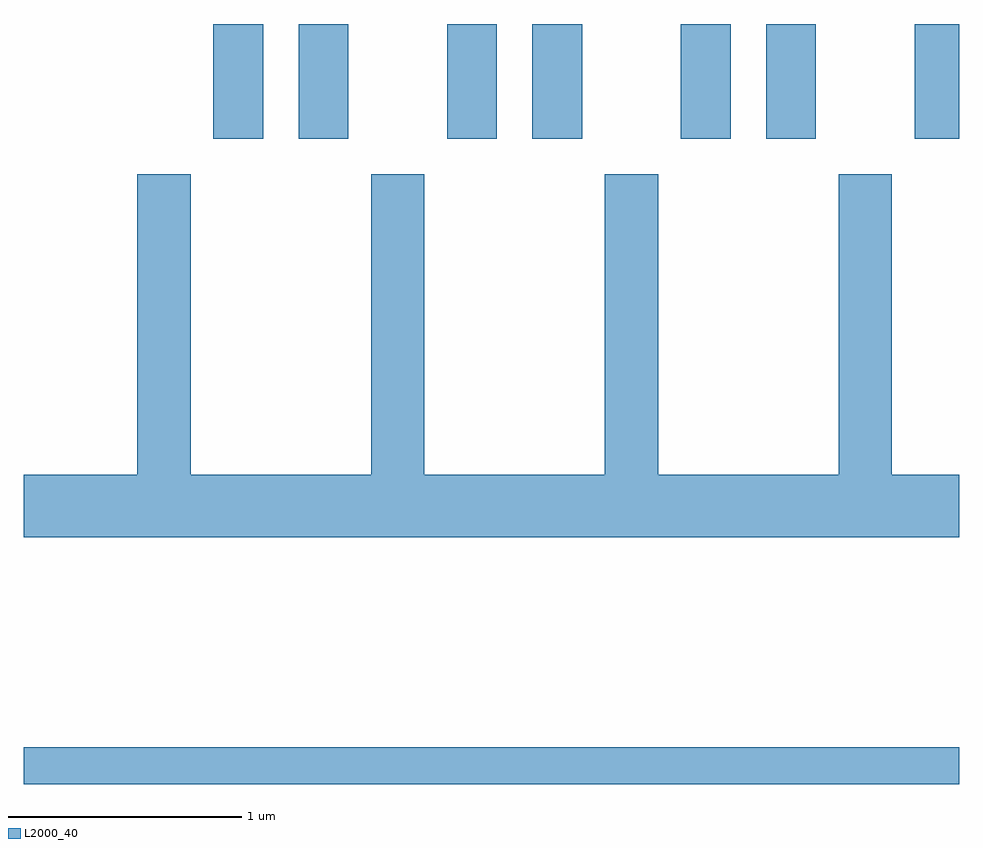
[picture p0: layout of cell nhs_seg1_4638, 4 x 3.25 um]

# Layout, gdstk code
import gdstk
lib = gdstk.Library(unit=1e-6, precision=1e-09)
def R(c, l, rs):  # rectangles x0, y0, x1, y1
    for r in rs: c.add(gdstk.rectangle(r[:2], r[2:], *l))
def P(c, l, *ps):  # polygons
    for p in ps: c.add(gdstk.Polygon(p, *l))
L2000_40 = (2000, 40)

nhs_seg1_4638 = lib.new_cell('nhs_seg1_4638')
R(nhs_seg1_4638, L2000_40, [(323.611,958.461,327.611,958.619), (324.421,961.221,324.634,961.712), (324.786,961.221,324.999,961.712), (325.421,961.221,325.634,961.712), (325.786,961.221,325.999,961.712), (326.421,961.221,326.634,961.712), (326.786,961.221,326.999,961.712), (327.421,961.221,327.611,961.712)])
P(nhs_seg1_4638, L2000_40, [(327.611,959.784),(327.324,959.784),(327.324,961.069),(327.096,961.069),(327.096,959.784),(326.324,959.784),(326.324,961.069),(326.096,961.069),(326.096,959.784),(325.324,959.784),(325.324,961.069),(325.096,961.069),(325.096,959.784),(324.324,959.784),(324.324,961.069),(324.096,961.069),(324.096,959.784),(323.611,959.784),(323.611,959.516),(327.611,959.516)])

lib.write_gds('nhs_seg1_4638.gds')
